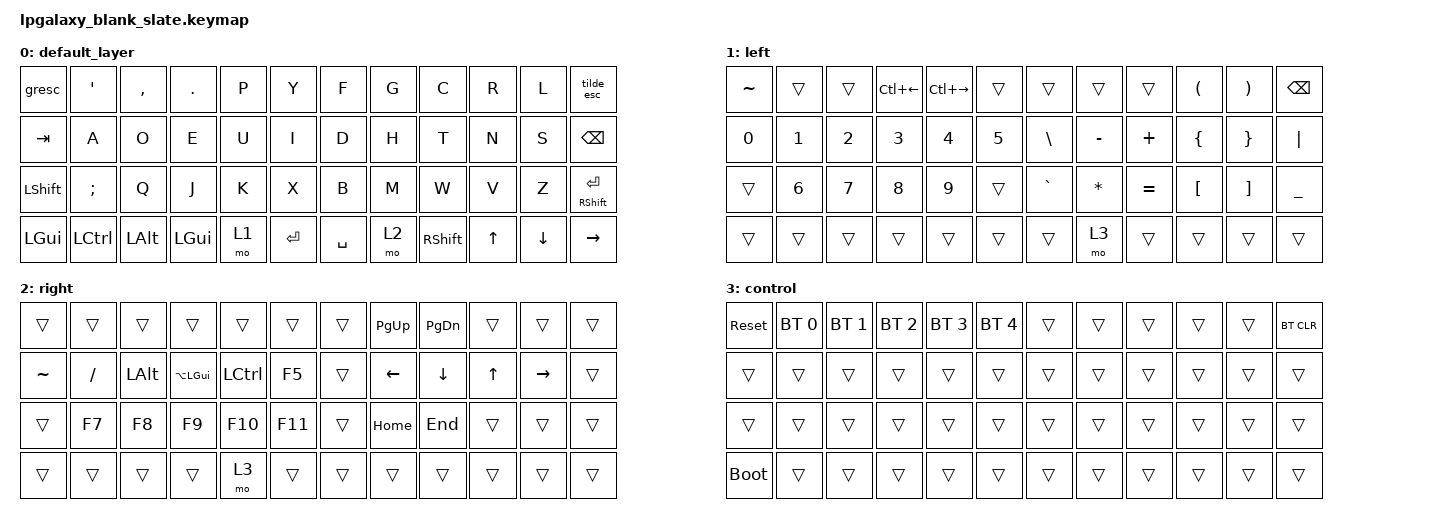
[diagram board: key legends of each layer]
/*
 * Copyright (c) 2022 Pete Johanson
 *
 * SPDX-License-Identifier: MIT
 */

#include <behaviors.dtsi>
#include <dt-bindings/zmk/keys.h>
#include <dt-bindings/zmk/bt.h>
#include <dt-bindings/zmk/outputs.h>

#define QWERTY_BASE 1

#define TBLE_ORTHO   1
// #define TBLE_MIT     1
// #define TBLE_DUAL_2U 1

// Using layer taps on thumbs, having quick tap as well helps w/ repeating space/backspace
// &lt { quick_tap_ms = <200>; };

/ {
    chosen {
       zmk,matrix_transform =
#ifdef TBLE_DUAL_2U
                       &dual_2u_transform;
#elif defined(TBLE_MIT)
                       &mit_transform;
#else
                       &ortho_transform;
#endif
    };

//    macros {
//      ZMK_MACRO(thumbs_up,
//		wait-ms = <1>;
//		tap-ms = <5>;
//            bindings = <&kp PLUS &kp COLON &kp PLUS &kp N1 &kp COLON &kp RET>;
//		)
//    };

    tap_dances {
    	shifty: shift_caps_word {
            compatible = "zmk,behavior-tap-dance";
            label = "TD_SHIFTY";
            #binding-cells = <0>;
            tapping-term-ms = <150>;
            bindings = <&kp LSHFT>, <&caps_word>;
	    };
    };

    keymap {
        compatible = "zmk,keymap";

        default_layer {
            // -----------------------------------------------------------------------------------------
            // | ESC/~ |  SQT | COMMA|  DOT |  P   |  Y   |   F   |  G    |  C   |  R   |   L   | BSPC  |
            // | TAB   |  A   |  O   |  E   |  U   |  I   |   D   |  H    |  T   |  N   |   S   |  BSPC |
            // | SHIFT | SEMI |  Q   |  J   |  K   |  X   |   B   |  M    |  W   |  V   |   Z   |RET/SFT|
            // | LGUI  | LCTL | LALT | LGUI | LOWR |     SPACE    |  RAIS | RSFT | UARW | DARW  |  RARW |

            bindings = <
                &gresc     &kp SQT    &kp COMMA &kp DOT   &kp P  &kp Y      &kp F      &kp G  &kp C      &kp R    &kp L     &tilde_esc
                &kp TAB    &kp A      &kp O     &kp E     &kp U  &kp I      &kp D      &kp H  &kp T      &kp N    &kp S     &kp BSPC
                &kp LSHFT  &kp SEMI   &kp Q     &kp J     &kp K  &kp X      &kp B      &kp M  &kp W      &kp V    &kp Z     &mt RSHFT RET
                &kp LGUI   &kp LCTRL  &kp LALT  &kp LGUI  &mo 1  &kp ENTER  &kp SPACE  &mo 2  &kp RSHFT  &kp UP   &kp DOWN  &kp RIGHT
            >;
        };

        left {
            bindings = <
                &kp TILDE      &trans      &trans      &kp LC(LEFT) &kp LC(RIGHT) &trans   &trans      &trans      &trans      &kp LPAR    &kp RPAR    &kp BSPC
                &kp N0         &kp N1      &kp N2      &kp N3      &kp N4      &kp N5      &kp BSLH    &kp MINUS   &kp PLUS    &kp LBRC    &kp RBRC    &kp PIPE
                &trans         &kp N6      &kp N7      &kp N8      &kp N9      &trans      &kp GRAVE   &kp ASTRK   &kp EQUAL   &kp LBKT    &kp RBKT    &kp UNDER
                &trans         &trans      &trans      &trans      &trans      &trans      &trans      &mo 3       &trans      &trans      &trans      &trans
            >;
        };

        right {
            bindings = <
                &trans     &trans  &trans  &trans  &trans   &trans   &trans   &kp PG_UP  &kp PG_DN   &trans        &trans        &trans
                &kp TILDE &kp SLASH  &kp LALT &kp LA(LGUI)  &kp LCTL &kp F5 &trans  &kp LEFT   &kp DOWN       &kp UP        &kp RIGHT     &trans
                &trans     &kp F7  &kp F8  &kp F9  &kp F10  &kp F11  &trans   &kp HOME   &kp END     &trans        &trans        &trans
                &trans     &trans  &trans  &trans  &mo 3    &trans   &trans   &trans     &trans      &trans        &trans        &trans
            >;
        };

        control {
            bindings = <
                &sys_reset       &bt BT_SEL 0     &bt BT_SEL 1     &bt BT_SEL 2     &bt BT_SEL 3     &bt BT_SEL 4     &trans  &trans  &trans      &trans  &trans  &bt BT_CLR
                &trans           &trans           &trans           &trans           &trans           &trans           &trans  &trans  &trans      &trans  &trans  &trans
                &trans           &trans           &trans           &trans           &trans           &trans           &trans  &trans  &trans      &trans  &trans  &trans
                &bootloader      &trans           &trans           &trans           &trans           &trans           &trans  &trans  &trans      &trans  &trans  &trans
            >;
        };
    };

    behaviors {
        tilde_esc: tilde_escape {
            compatible = "zmk,behavior-mod-morph";
            label = "TILDE_ESCAPE";
            #binding-cells = <0>;
            bindings = <&kp ESC>, <&kp TILDE>;
            mods = <(MOD_LGUI|MOD_LSFT|MOD_RGUI|MOD_RSFT)>;
        };
    };
};

